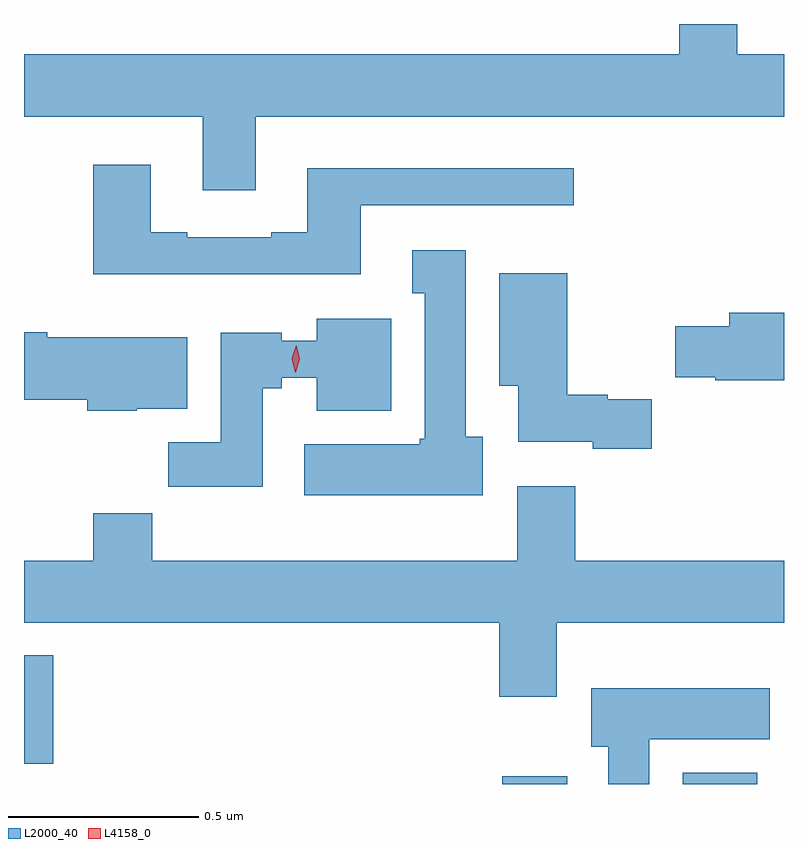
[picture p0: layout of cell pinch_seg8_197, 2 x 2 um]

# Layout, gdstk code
import gdstk
lib = gdstk.Library(unit=1e-6, precision=1e-09)
def R(c, l, rs):  # rectangles x0, y0, x1, y1
    for r in rs: c.add(gdstk.rectangle(r[:2], r[2:], *l))
def P(c, l, *ps):  # polygons
    for p in ps: c.add(gdstk.Polygon(p, *l))
L2000_40 = (2000, 40)
L4158_0 = (4158, 0)

pinch_seg8_197 = lib.new_cell('pinch_seg8_197')
R(pinch_seg8_197, L2000_40, [(635.972,1160.032,636.142,1160.053), (636.446,1160.032,636.643,1160.062), (634.713,1160.085,634.79,1160.371)])
P(pinch_seg8_197, L2000_40, [(635.323,1161.788),(636.713,1161.788),(636.713,1161.952),(636.59,1161.952),(636.59,1162.032),(636.437,1162.032),(636.437,1161.952),(634.713,1161.952),(634.713,1161.788),(635.183,1161.788),(635.183,1161.594),(635.323,1161.594)],
  [(635.599,1161.555),(636.16,1161.555),(636.16,1161.652),(635.459,1161.652),(635.459,1161.484),(635.363,1161.484),(635.363,1161.471),(635.143,1161.471),(635.143,1161.484),(635.047,1161.484),(635.047,1161.661),(634.895,1161.661),(634.895,1161.374),(635.599,1161.374)],
  [(635.92,1160.946),(635.875,1160.946),(635.875,1161.436),(635.735,1161.436),(635.735,1161.323),(635.768,1161.323),(635.768,1160.94),(635.755,1160.94),(635.755,1160.926),(635.451,1160.926),(635.451,1160.792),(635.92,1160.792)],
  [(636.365,1161.044),(636.249,1161.044),(636.249,1161.056),(636.142,1161.056),(636.142,1161.376),(635.963,1161.376),(635.963,1161.08),(636.014,1161.08),(636.014,1160.933),(636.21,1160.933),(636.21,1160.914),(636.365,1160.914)],
  [(636.713,1161.272),(636.569,1161.272),(636.569,1161.236),(636.427,1161.236),(636.427,1161.102),(636.532,1161.102),(636.532,1161.094),(636.713,1161.094)],
  [(635.341,1161.073),(635.391,1161.073),(635.391,1161.101),(635.483,1161.101),(635.483,1161.014),(635.68,1161.014),(635.68,1161.256),(635.483,1161.256),(635.483,1161.199),(635.391,1161.199),(635.391,1161.22),(635.231,1161.22),(635.231,1160.932),(635.092,1160.932),(635.092,1160.814),(635.341,1160.814)],
  [(635.01,1161.02),(635.143,1161.02),(635.143,1161.208),(634.774,1161.208),(634.774,1161.221),(634.713,1161.221),(634.713,1161.043),(634.88,1161.043),(634.88,1161.014),(635.01,1161.014)],
  [(636.115,1160.456),(636.713,1160.456),(636.713,1160.62),(636.164,1160.62),(636.164,1160.815),(636.011,1160.815),(636.011,1160.62),(635.051,1160.62),(635.051,1160.744),(634.895,1160.744),(634.895,1160.62),(634.713,1160.62),(634.713,1160.456),(635.963,1160.456),(635.963,1160.262),(636.115,1160.262)],
  [(636.358,1160.15),(636.676,1160.15),(636.676,1160.284),(636.206,1160.284),(636.206,1160.13),(636.251,1160.13),(636.251,1160.032),(636.358,1160.032)])
P(pinch_seg8_197, L4158_0, [(635.427,1161.115),(635.418,1161.151),(635.429,1161.187),(635.429,1161.187),(635.429,1161.187),(635.438,1161.151),(635.428,1161.115),(635.428,1161.115)])

lib.write_gds('pinch_seg8_197.gds')
